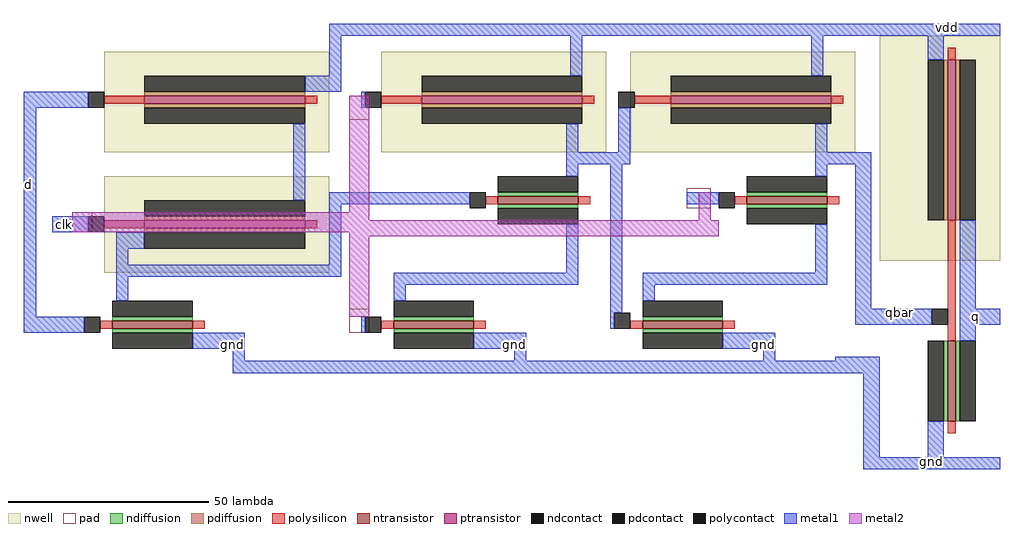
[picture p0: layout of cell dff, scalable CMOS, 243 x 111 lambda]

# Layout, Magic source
magic
tech scmos
<< nwell >>
rect -216 -43 -160 -18
rect -147 -43 -91 -18
rect -85 -43 -29 -18
rect -216 -73 -160 -49
rect -23 -70 7 -14
<< ntransistor >>
rect -118 -56 -98 -54
rect -56 -56 -36 -54
rect -214 -87 -194 -85
rect -144 -87 -124 -85
rect -82 -87 -62 -85
rect -6 -110 -4 -90
<< ptransistor >>
rect -206 -31 -166 -29
rect -137 -31 -97 -29
rect -75 -31 -35 -29
rect -206 -62 -166 -60
rect -6 -60 -4 -20
<< ndiffusion >>
rect -118 -54 -98 -53
rect -118 -57 -98 -56
rect -56 -54 -36 -53
rect -56 -57 -36 -56
rect -214 -85 -194 -84
rect -214 -88 -194 -87
rect -144 -85 -124 -84
rect -82 -85 -62 -84
rect -144 -88 -124 -87
rect -82 -88 -62 -87
rect -7 -110 -6 -90
rect -4 -110 -3 -90
<< pdiffusion >>
rect -206 -29 -166 -28
rect -206 -32 -166 -31
rect -137 -29 -97 -28
rect -137 -32 -97 -31
rect -75 -29 -35 -28
rect -75 -32 -35 -31
rect -206 -60 -166 -59
rect -7 -60 -6 -20
rect -4 -60 -3 -20
rect -206 -63 -166 -62
<< ndcontact >>
rect -118 -53 -98 -49
rect -56 -53 -36 -49
rect -118 -61 -98 -57
rect -56 -61 -36 -57
rect -214 -84 -194 -80
rect -144 -84 -124 -80
rect -82 -84 -62 -80
rect -214 -92 -194 -88
rect -144 -92 -124 -88
rect -82 -92 -62 -88
rect -11 -110 -7 -90
rect -3 -110 1 -90
<< pdcontact >>
rect -206 -28 -166 -24
rect -137 -28 -97 -24
rect -75 -28 -35 -24
rect -206 -36 -166 -32
rect -137 -36 -97 -32
rect -75 -36 -35 -32
rect -206 -59 -166 -55
rect -11 -60 -7 -20
rect -3 -60 1 -20
rect -206 -67 -166 -63
<< polysilicon >>
rect -6 -20 -4 -17
rect -216 -31 -206 -29
rect -166 -31 -163 -29
rect -147 -31 -137 -29
rect -97 -31 -94 -29
rect -84 -31 -75 -29
rect -35 -31 -32 -29
rect -121 -56 -118 -54
rect -98 -56 -95 -54
rect -59 -56 -56 -54
rect -36 -56 -33 -54
rect -216 -62 -206 -60
rect -166 -62 -163 -60
rect -217 -87 -214 -85
rect -194 -87 -191 -85
rect -147 -87 -144 -85
rect -124 -87 -121 -85
rect -85 -87 -82 -85
rect -62 -87 -59 -85
rect -6 -90 -4 -60
rect -6 -113 -4 -110
<< polycontact >>
rect -220 -32 -216 -28
rect -151 -32 -147 -28
rect -88 -32 -84 -28
rect -125 -57 -121 -53
rect -63 -57 -59 -53
rect -220 -63 -216 -59
rect -221 -88 -217 -84
rect -151 -88 -147 -84
rect -89 -87 -85 -83
rect -10 -86 -6 -82
<< metal1 >>
rect -160 -14 7 -11
rect -160 -24 -157 -14
rect -100 -24 -97 -14
rect -40 -24 -37 -14
rect -11 -20 -7 -14
rect -166 -28 -157 -24
rect -236 -32 -220 -28
rect -152 -32 -151 -28
rect -236 -84 -233 -32
rect -169 -55 -166 -36
rect -101 -43 -98 -36
rect -88 -43 -85 -32
rect -101 -46 -85 -43
rect -39 -43 -36 -36
rect -39 -46 -25 -43
rect -101 -49 -98 -46
rect -160 -56 -125 -53
rect -229 -63 -220 -59
rect -213 -67 -206 -63
rect -213 -71 -210 -67
rect -160 -71 -157 -56
rect -213 -74 -157 -71
rect -101 -73 -98 -61
rect -213 -80 -210 -74
rect -144 -76 -98 -73
rect -144 -80 -141 -76
rect -90 -83 -87 -46
rect -39 -49 -36 -46
rect -71 -56 -63 -53
rect -39 -73 -36 -61
rect -82 -76 -36 -73
rect -82 -80 -79 -76
rect -236 -88 -221 -84
rect -152 -88 -151 -84
rect -90 -87 -89 -83
rect -29 -82 -25 -46
rect -3 -82 1 -60
rect -29 -86 -10 -82
rect -3 -86 7 -82
rect -194 -92 -181 -88
rect -124 -92 -111 -88
rect -62 -92 -49 -88
rect -3 -90 1 -86
rect -184 -95 -181 -92
rect -114 -95 -111 -92
rect -52 -95 -49 -92
rect -34 -95 -23 -94
rect -184 -98 -23 -95
rect -27 -119 -23 -98
rect -11 -119 -7 -110
rect -27 -122 7 -119
<< metal2 >>
rect -155 -58 -150 -29
rect -224 -60 -150 -58
rect -68 -60 -65 -53
rect -224 -63 -63 -60
rect -155 -64 -63 -63
rect -155 -84 -150 -64
<< pad >>
rect -155 -35 -150 -29
rect -71 -57 -65 -52
rect -224 -63 -219 -58
rect -155 -88 -150 -82
<< labels >>
rlabel metal1 -235 -51 -235 -51 3 d
rlabel metal1 -184 -91 -184 -91 7 gnd
rlabel metal1 -114 -91 -114 -91 7 gnd
rlabel metal1 -226 -61 -226 -61 3 clk
rlabel metal1 -52 -91 -52 -91 7 gnd
rlabel metal1 -6 -12 -6 -12 5 vdd
rlabel metal1 -10 -120 -10 -120 1 gnd
rlabel metal1 1 -84 1 -84 1 q
rlabel metal1 -18 -83 -18 -83 1 qbar
<< end >>
